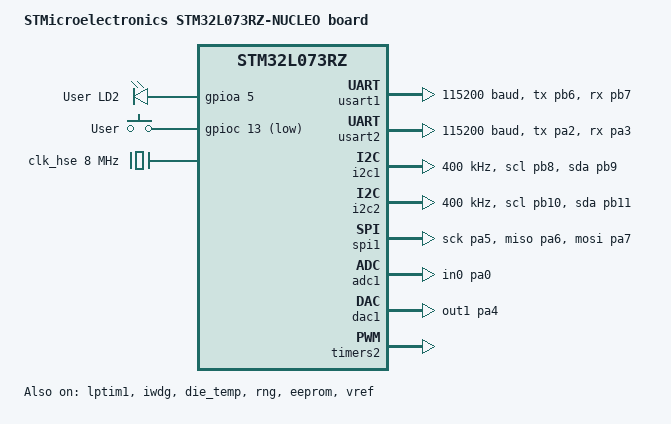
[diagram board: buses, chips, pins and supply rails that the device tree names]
/*
 * Copyright (c) 2018 Ilya Tagunov <tagunil@gmail.com>
 *
 * SPDX-License-Identifier: Apache-2.0
 */

/dts-v1/;
#include <st/l0/stm32l073Xz.dtsi>
#include <st/l0/stm32l073r(b-z)tx-pinctrl.dtsi>
#include "arduino_r3_connector.dtsi"
#include "st_morpho_connector.dtsi"
#include <zephyr/dt-bindings/input/input-event-codes.h>

/ {
	model = "STMicroelectronics STM32L073RZ-NUCLEO board";
	compatible = "st,stm32l073rz-nucleo";

	chosen {
		zephyr,console = &usart2;
		zephyr,shell-uart = &usart2;
		zephyr,sram = &sram0;
		zephyr,flash = &flash0;
	};

	leds: leds {
		compatible = "gpio-leds";
		green_led_2: led_2 {
			gpios = <&gpioa 5 GPIO_ACTIVE_HIGH>;
			label = "User LD2";
		};
	};

	gpio_keys {
		compatible = "gpio-keys";
		user_button: button {
			label = "User";
			gpios = <&gpioc 13 GPIO_ACTIVE_LOW>;
			zephyr,code = <INPUT_KEY_0>;
		};
	};

	pwmleds: pwmleds {
		compatible = "pwm-leds";
		/* NOTE: disabled by default, PWM2 conflicts with SPI1 */
		status = "disabled";

		green_pwm_led: green_pwm_led {
			pwms = <&pwm2 1 PWM_MSEC(20) PWM_POLARITY_NORMAL>;
		};
	};

	aliases {
		led0 = &green_led_2;
		sw0 = &user_button;
		pwm-led0 = &green_pwm_led;
		watchdog0 = &iwdg;
		eeprom-0 = &eeprom;
		die-temp0 = &die_temp;
		volt-sensor0 = &vref;
	};
};

&clk_hse {
	hse-bypass;
	clock-frequency = <DT_FREQ_M(8)>; /* STLink 8MHz clock */
	status = "okay";
};

&clk_lsi {
	status = "okay";
};

&clk_hsi48 {
	status = "okay";
};

&pll {
	div = <2>;
	mul = <8>;
	clocks = <&clk_hse>;
	status = "okay";
};

&rcc {
	clocks = <&pll>;
	clock-frequency = <DT_FREQ_M(32)>;
	ahb-prescaler = <1>;
	apb1-prescaler = <1>;
	apb2-prescaler = <1>;
};

&lptim1 {
	clocks = <&rcc STM32_CLOCK_BUS_APB1 0x80000000>,
		<&rcc STM32_SRC_LSI LPTIM1_SEL(1)>;
	status = "okay";
};

&usart1 {
	pinctrl-0 = <&usart1_tx_pb6 &usart1_rx_pb7>;
	pinctrl-names = "default";
	current-speed = <115200>;
};

&usart2 {
	pinctrl-0 = <&usart2_tx_pa2 &usart2_rx_pa3>;
	pinctrl-names = "default";
	current-speed = <115200>;
	status = "okay";
};

&i2c1 {
	pinctrl-0 = <&i2c1_scl_pb8 &i2c1_sda_pb9>;
	pinctrl-names = "default";
	status = "okay";
	clock-frequency = <I2C_BITRATE_FAST>;
};

&i2c2 {
	pinctrl-0 = <&i2c2_scl_pb10 &i2c2_sda_pb11>;
	pinctrl-names = "default";
	status = "okay";
	clock-frequency = <I2C_BITRATE_FAST>;
};

&spi1 {
	pinctrl-0 = <&spi1_sck_pa5 &spi1_miso_pa6 &spi1_mosi_pa7>;
	pinctrl-names = "default";
	status = "okay";
};

&iwdg {
	status = "okay";
};

&adc1 {
	pinctrl-0 = <&adc_in0_pa0>;
	pinctrl-names = "default";
	st,adc-clock-source = <SYNC>;
	st,adc-prescaler = <4>;
	status = "okay";
};

&die_temp {
	status = "okay";
};

&dac1 {
	status = "okay";
	pinctrl-0 = <&dac_out1_pa4>;
	pinctrl-names = "default";
};

&timers2 {
	st,prescaler = <10000>;
	status = "okay";

	pwm2: pwm {
		/* NOTE: disabled by default, PWM2 conflicts with SPI1 */
		pinctrl-0 = <&tim2_ch1_pa5>;
		pinctrl-names = "default";
	};
};

&rng {
	status = "okay";
};

&eeprom {
	status = "okay";
};

&vref {
	status = "okay";
};
